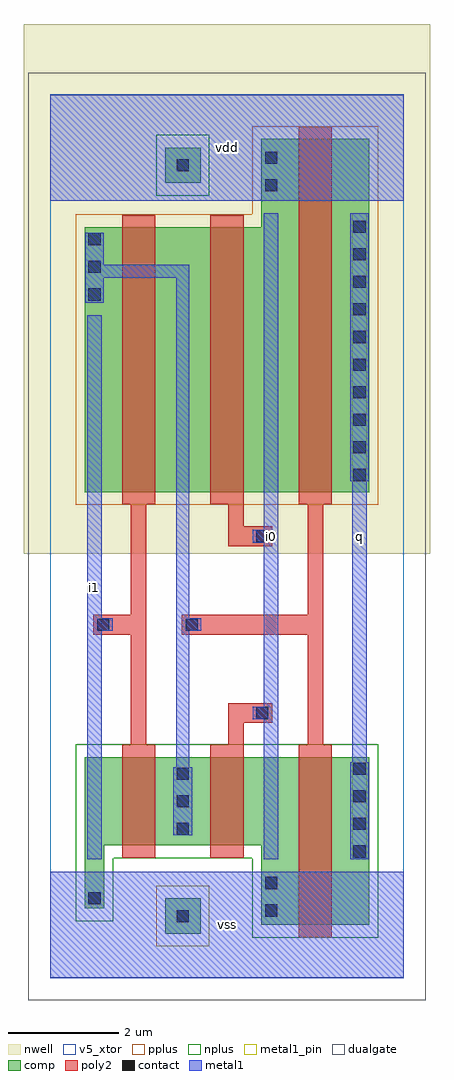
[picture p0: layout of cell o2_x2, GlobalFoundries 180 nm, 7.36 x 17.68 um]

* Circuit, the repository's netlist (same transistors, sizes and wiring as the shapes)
* o2_x2
.subckt o2_x2 vdd q vss i0 i1
Mp_net1_1 vdd _net1 q vdd pfet_06v0 l=0.6um w=6.4um
Mn_net1_1 vss _net1 q vss nfet_06v0 l=0.6um w=3.04um
Mp_i0_1 _net0 i0 vdd vdd pfet_06v0 l=0.6um w=4.8um
Mn_i0_1 _net1 i0 vss vss nfet_06v0 l=0.6um w=1.6um
Mp_i1_1 _net1 i1 _net0 vdd pfet_06v0 l=0.6um w=4.8um
Mn_i1_1 vss i1 _net1 vss nfet_06v0 l=0.6um w=1.6um
.ends o2_x2

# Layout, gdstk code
import gdstk
lib = gdstk.Library(unit=1e-6, precision=1e-09)
def R(c, l, rs):  # rectangles x0, y0, x1, y1
    for r in rs: c.add(gdstk.rectangle(r[:2], r[2:], *l))
def A(c, l, x, y, w, h, nx, ny, dx, dy):  # array of equal rectangles
    R(c, l, [(x+i*dx, y+j*dy, x+i*dx+w, y+j*dy+h) for i in range(nx) for j in range(ny)])
def P(c, l, *ps):  # polygons
    for p in ps: c.add(gdstk.Polygon(p, *l))
nwell = (21, 0)
comp = (22, 0)
poly2 = (30, 0)
pplus = (31, 0)
nplus = (32, 0)
contact = (33, 0)
metal1 = (34, 0)
metal1_pin = (34, 10)
dualgate = (55, 0)
v5_xtor = (112, 1)

o2_x2 = lib.new_cell('o2_x2')
R(o2_x2, nwell, [(-0.48,7.68,6.88,17.28)])
R(o2_x2, comp, [(2.08,0.8,2.72,1.44), (2.08,14.4,2.72,15.04)])
P(o2_x2, comp, [(0.62,8.8),(0.62,13.6),(3.82,13.6),(3.82,15.2),(5.78,15.2),(5.78,8.8)],
  [(3.82,0.96),(3.82,2.4),(0.98,2.4),(0.98,1.26),(0.62,1.26),(0.62,4),(5.78,4),(5.78,0.96)])
P(o2_x2, poly2, [(4.5,0.74),(4.5,4.22),(4.66,4.22),(4.66,6.22),(2.38,6.22),(2.38,6.58),(4.66,6.58),(4.66,8.58),(4.5,8.58),(4.5,15.42),(5.1,15.42),(5.1,8.58),(4.94,8.58),(4.94,4.22),(5.1,4.22),(5.1,0.74)],
  [(2.9,2.18),(2.9,4.22),(3.22,4.22),(3.22,4.98),(4.02,4.98),(4.02,4.62),(3.5,4.62),(3.5,2.18)],
  [(3.22,7.82),(3.22,8.58),(2.9,8.58),(2.9,13.82),(3.5,13.82),(3.5,8.18),(4.02,8.18),(4.02,7.82)],
  [(1.3,2.18),(1.3,4.22),(1.46,4.22),(1.46,6.22),(0.78,6.22),(0.78,6.58),(1.46,6.58),(1.46,8.58),(1.3,8.58),(1.3,13.82),(1.9,13.82),(1.9,8.58),(1.74,8.58),(1.74,4.22),(1.9,4.22),(1.9,2.18)])
R(o2_x2, pplus, [(1.92,0.57,2.88,1.67)])
P(o2_x2, pplus, [(0.46,8.57),(0.46,13.83),(3.66,13.83),(3.66,15.43),(5.94,15.43),(5.94,8.57)])
R(o2_x2, nplus, [(1.92,14.17,2.88,15.27)])
P(o2_x2, nplus, [(3.66,0.73),(3.66,2.17),(1.14,2.17),(1.14,1.03),(0.46,1.03),(0.46,4.23),(5.94,4.23),(5.94,0.73)])
A(o2_x2, contact, 5.49, 2.18, 0.22, 0.22, 1, 4, 0, 0.5)
A(o2_x2, contact, 2.29, 2.59, 0.22, 0.22, 1, 3, 0, 0.5)
A(o2_x2, contact, 5.49, 9, 0.22, 0.22, 1, 10, 0, 0.5)
A(o2_x2, contact, 0.69, 12.27, 0.22, 0.22, 1, 3, 0, 0.5)
R(o2_x2, contact, [(2.29,1.01,2.51,1.23), (3.89,1.11,4.11,1.33), (0.69,1.33,0.91,1.55), (3.89,1.61,4.11,1.83), (3.73,4.69,3.95,4.91), (0.85,6.29,1.07,6.51), (2.45,6.29,2.67,6.51), (3.73,7.89,3.95,8.11), (3.89,14.25,4.11,14.47), (2.29,14.61,2.51,14.83), (3.89,14.75,4.11,14.97)])
R(o2_x2, metal1, [(0,0,6.4,1.92), (0,14.08,6.4,16)])
P(o2_x2, metal1, [(5.43,2.15),(5.43,3.905),(5.47,3.905),(5.47,8.995),(5.43,8.995),(5.43,13.85),(5.77,13.85),(5.77,8.995),(5.73,8.995),(5.73,3.905),(5.77,3.905),(5.77,2.15)],
  [(2.23,2.585),(2.23,3.815),(2.285,3.815),(2.285,12.685),(0.97,12.685),(0.97,12.23),(0.63,12.23),(0.63,13.495),(0.97,13.495),(0.97,12.915),(2.515,12.915),(2.515,6.515),(2.73,6.515),(2.73,6.285),(2.515,6.285),(2.515,3.815),(2.57,3.815),(2.57,2.585)],
  [(3.87,2.15),(3.87,4.685),(3.67,4.685),(3.67,4.915),(3.87,4.915),(3.87,7.885),(3.67,7.885),(3.67,8.115),(3.87,8.115),(3.87,13.85),(4.13,13.85),(4.13,2.15)],
  [(0.67,2.15),(0.67,12),(0.93,12),(0.93,6.515),(1.13,6.515),(1.13,6.285),(0.93,6.285),(0.93,2.15)])
R(o2_x2, metal1_pin, [(0,0,6.4,1.92), (0.67,2.15,0.93,12), (3.87,2.15,4.13,13.85), (5.47,2.15,5.73,13.85), (0,14.08,6.4,16)])
R(o2_x2, dualgate, [(-0.4,-0.4,6.8,16.4)])
R(o2_x2, v5_xtor, [(-0.005,-0.005,6.405,16.005)])
o2_x2.add(gdstk.Label('vdd', (3.2,15.04), layer=34, texttype=10))
o2_x2.add(gdstk.Label('q', (5.6,8), layer=34, texttype=10))
o2_x2.add(gdstk.Label('vss', (3.2,0.96), layer=34, texttype=10))
o2_x2.add(gdstk.Label('i0', (4,8), layer=34, texttype=10))
o2_x2.add(gdstk.Label('i1', (0.8,7.075), layer=34, texttype=10))

lib.write_gds('o2_x2.gds')
